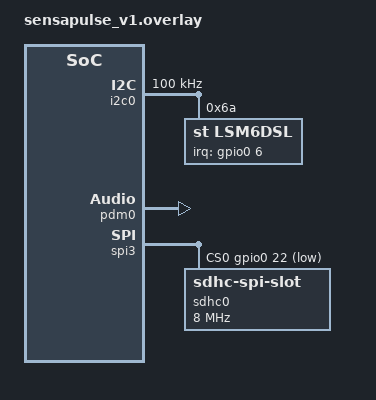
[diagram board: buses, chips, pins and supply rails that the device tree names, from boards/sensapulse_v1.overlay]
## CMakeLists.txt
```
# SPDX-License-Identifier: Apache-2.0
#
# Standalone SD-stress firmware. Builds against the same custom board as the
# main app (via BOARD_ROOT) but pulls only the sd_log module — no PDM, no
# I²C, no BLE, no FSM, no LED. Goal: isolate SD R/W behaviour from the rest
# of the system so we can answer "is the empty-session bug from the SD path
# alone, or from interaction with audio/IMU/watchdog?" deterministically.
cmake_minimum_required(VERSION 3.20.0)

list(APPEND BOARD_ROOT ${CMAKE_CURRENT_LIST_DIR}/../..)

find_package(Zephyr REQUIRED HINTS $ENV{ZEPHYR_BASE})
project(sensapulse_sd_stress LANGUAGES C)

target_sources(app PRIVATE
    src/main.c
    ${CMAKE_CURRENT_LIST_DIR}/../src/sd_log.c
    # Production data-path modules — pulled in unchanged so phases 5/6
    # exercise the exact same code that runs in the main app session.
    # #25: sd_writer is the single FATFS owner; audio.c + imu_sampler.c
    # are now producers that push into sd_writer's FIFOs.
    ${CMAKE_CURRENT_LIST_DIR}/../src/audio.c
    ${CMAKE_CURRENT_LIST_DIR}/../src/imu.c
    ${CMAKE_CURRENT_LIST_DIR}/../src/imu_sampler.c
    ${CMAKE_CURRENT_LIST_DIR}/../src/sd_writer.c
)

target_include_directories(app PRIVATE
    src
    ${CMAKE_CURRENT_LIST_DIR}/../src
)
```

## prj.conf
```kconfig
# SD stress isolation firmware — Kconfig matches production data path
# minus FSM / BLE / watchdog / LED state machine.
#
# Phases 1-4 use only SD; phases 5-6 add PDM (16 kHz/16-bit stereo) and
# IMU (LSM6DSL via I²C @ 100 kHz, sampled at 52 Hz). Anything that fails
# in 5/6 but not 1-4 is interaction-class, not SD-class.

CONFIG_GPIO=y                           # LED liveness blink
CONFIG_MAIN_STACK_SIZE=4096

# SPI + SD card + filesystem
CONFIG_SPI=y
CONFIG_DISK_DRIVER_SDMMC=y
CONFIG_DISK_DRIVERS=y
CONFIG_FILE_SYSTEM=y
CONFIG_FAT_FILESYSTEM_ELM=y
CONFIG_FS_FATFS_LFN=y
CONFIG_FS_FATFS_LFN_MODE_HEAP=y
CONFIG_FS_FATFS_MAX_LFN=64

# Phase 5 — PDM stereo (production audio.c)
CONFIG_AUDIO=y
CONFIG_AUDIO_DMIC=y

# Phase 6 — I²C + LSM6DSL (production imu.c + imu_sampler.c)
CONFIG_I2C=y

# Logging via Segger RTT
CONFIG_LOG=y
CONFIG_LOG_DEFAULT_LEVEL=3
CONFIG_USE_SEGGER_RTT=y
CONFIG_LOG_BACKEND_RTT=y
CONFIG_LOG_BACKEND_UART=n
CONFIG_SEGGER_RTT_BUFFER_SIZE_UP=4096

# Heap matches production (FATFS LFN + DMIC mem-slab + IMU buffers)
CONFIG_HEAP_MEM_POOL_SIZE=16384
```

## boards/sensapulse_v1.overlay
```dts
/*
 * Stress-test overlay for sensapulse_v1/nrf52840.
 *
 * Mirrors the production overlay's peripheral set (SPI3+SDHC, I²C+LSM6DSL,
 * PDM stereo) so phases 5/6 can run the production data path verbatim.
 * ADC is omitted — battery monitoring isn't part of the data-path test.
 *
 * SPI clock is configurable via SD_STRESS_SPI_HZ at build time so the
 * harness can sweep 24 / 16 / 8 / 4 MHz from a single source.
 */

#ifndef SD_STRESS_SPI_HZ
#define SD_STRESS_SPI_HZ 8000000
#endif

/* I²C0 + LSM6DSL — phase 6 */
&i2c0 {
	compatible = "nordic,nrf-twim";
	status = "okay";
	pinctrl-0 = <&i2c0_default>;
	pinctrl-1 = <&i2c0_sleep>;
	pinctrl-names = "default", "sleep";
	clock-frequency = <I2C_BITRATE_STANDARD>;

	lsm6dsl: lsm6dsl@6a {
		compatible = "st,lsm6dsl";
		reg = <0x6a>;
		/* INT1 wiring kept so imu.c's static binding compiles, but the
		 * stress firmware never calls imu_enable_double_tap(), so no
		 * tap interrupt is configured at runtime.
		 */
		irq-gpios = <&gpio0 6 GPIO_ACTIVE_HIGH>;
	};
};

/* PDM stereo — phase 5 */
&pdm0 {
	status = "okay";
	pinctrl-0 = <&pdm0_default>;
	pinctrl-names = "default";
	clock-source = "PCLK32M_HFXO";
};

/* SPI3 + SDHC — all phases */
&spi3 {
	compatible = "nordic,nrf-spim";
	status = "okay";
	pinctrl-0 = <&spi3_default>;
	pinctrl-1 = <&spi3_sleep>;
	pinctrl-names = "default", "sleep";
	cs-gpios = <&gpio0 22 GPIO_ACTIVE_LOW>;

	sdhc0: sdhc@0 {
		compatible = "zephyr,sdhc-spi-slot";
		reg = <0>;
		status = "okay";
		spi-max-frequency = <SD_STRESS_SPI_HZ>;

		mmc {
			compatible = "zephyr,sdmmc-disk";
			status = "okay";
		};
	};
};
```

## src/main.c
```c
/*
 * SensaPulse — SD subsystem stress test (#23 isolation).
 *
 * Why this exists: the production app's empty-session bug looks like an
 * SD R/W issue, but the production firmware also runs PDM, IMU sampling,
 * a session FSM, and a watchdog. We can't tell whether the bug is in SD
 * code itself or in something interacting with SD. This standalone
 * firmware mounts FATFS and only writes/reads, so any error here is
 * unambiguously in the SD path (driver / FATFS / hardware).
 *
 * Phases (all auto, no human input):
 *   1. Sequential bulk write — 1 MB blocks × 20 = 20 MB at peak rate.
 *   2. Sustained PDM-rate emulation — 4 KB / 25 ms ≈ 160 KB/s for 60 s
 *      (above the 64 KB/s of real audio so we have headroom).
 *   3. Dual-file interleave — 4 KB/25 ms to audio.dat + 256 B/200 ms
 *      to imu.dat in parallel, mimicking the production writer pair.
 *   4. With periodic fs_sync — phase 2 again but fs_sync every 5 s.
 *
 * Output: one line per phase summary plus a final
 *   STRESS_SUMMARY: { ... JSON ... }
 * line that scripts/parse_sd_stress.py grep'es for.
 *
 * LED: 1 Hz blink throughout so we can see the firmware is alive on the
 * bench. Solid OFF when the test is done.
 */

#include <zephyr/kernel.h>
#include <zephyr/drivers/gpio.h>
#include <zephyr/fs/fs.h>
#include <zephyr/logging/log.h>

#include <stdint.h>
#include <stdio.h>
#include <string.h>

#include "sd_log.h"
#include "audio.h"
#include "imu.h"
#include "imu_sampler.h"
#include "sd_writer.h"

LOG_MODULE_REGISTER(stress, LOG_LEVEL_INF);

/* ---------- LED liveness blinker ---------- */
static const struct gpio_dt_spec led_spec =
	GPIO_DT_SPEC_GET(DT_ALIAS(led0), gpios);

static void led_tick(struct k_timer *t)
{
	ARG_UNUSED(t);
	static int on;
	on = !on;
	gpio_pin_set_dt(&led_spec, on);
}
K_TIMER_DEFINE(led_timer, led_tick, NULL);

/* ---------- Per-phase metrics ---------- */
struct phase_stats {
	const char *name;
	uint32_t writes;
	uint32_t errors;
	uint32_t total_bytes;
	uint64_t total_us;
	uint32_t max_latency_us;
	int      first_err_code;
	int64_t  first_err_byte;
};

static void stats_record(struct phase_stats *s, int ret, uint32_t bytes,
			 uint64_t lat_us)
{
	s->writes++;
	if (ret < 0) {
		s->errors++;
		if (s->first_err_code == 0) {
			s->first_err_code = ret;
			s->first_err_byte = s->total_bytes;
		}
		LOG_ERR("write[%s] err=%d at offset=%u (write #%u)",
			s->name, ret, s->total_bytes, s->writes);
		return;
	}
	s->total_bytes += bytes;
	s->total_us    += lat_us;
	if (lat_us > s->max_latency_us) s->max_latency_us = (uint32_t)lat_us;
}

static void stats_log(const struct phase_stats *s)
{
	uint32_t avg_us = s->writes ? (uint32_t)(s->total_us / s->writes) : 0;
	uint32_t kbps   = s->total_us
		? (uint32_t)((uint64_t)s->total_bytes * 1000 / s->total_us)
		: 0;
	LOG_INF("[%s] writes=%u errors=%u total=%u B avg=%u us "
		"max=%u us throughput=%u kB/s",
		s->name, s->writes, s->errors, s->total_bytes,
		avg_us, s->max_latency_us, kbps);
	if (s->errors) {
		LOG_ERR("[%s] first error: code=%d at byte=%lld",
			s->name, s->first_err_code, (long long)s->first_err_byte);
	}
}

/* ---------- Phase helpers ---------- */
static int open_w(struct fs_file_t *f, const char *path)
{
	fs_file_t_init(f);
	int ret = fs_open(f, path, FS_O_CREATE | FS_O_WRITE | FS_O_TRUNC);
	if (ret) LOG_ERR("open %s: %d", path, ret);
	return ret;
}

static uint64_t now_us(void)
{
	return k_ticks_to_us_floor64(k_uptime_ticks());
}

/* Buffer reused across phases — kept small so the stack stays sane. */
static uint8_t buf[4096];

static void fill_pattern(uint32_t seed)
{
	for (size_t i = 0; i < sizeof(buf); i++) {
		seed = seed * 1103515245u + 12345u;
		buf[i] = (uint8_t)(seed >> 16);
	}
}

/* ---------- Phase 1: sequential bulk write ---------- */
static int phase_seq_bulk(struct phase_stats *s)
{
	*s = (struct phase_stats){.name = "seq_bulk"};
	struct fs_file_t f;
	if (open_w(&f, SD_MOUNT_POINT "/STRESS_SEQ.DAT") < 0) return -EIO;

	fill_pattern(0xA5A5A5A5);
	const uint32_t target = 20u * 1024u * 1024u;       /* 20 MB */
	uint32_t written = 0;

	while (written < target) {
		uint64_t t0 = now_us();
		int ret = fs_write(&f, buf, sizeof(buf));
		uint64_t lat = now_us() - t0;
		stats_record(s, ret, ret > 0 ? ret : 0, lat);
		if (ret < 0) break;          /* abort phase on hard error */
		written += ret;
	}

	fs_sync(&f);
	fs_close(&f);
	stats_log(s);
	fs_unlink(SD_MOUNT_POINT "/STRESS_SEQ.DAT");
	return 0;
}

/* ---------- Phase 2: sustained rate ---------- */
static int phase_sustained(struct phase_stats *s, int seconds, bool with_sync)
{
	s->name = with_sync ? "sustained_synced" : "sustained";
	s->writes = s->errors = s->total_bytes = 0;
	s->total_us = 0;
	s->max_latency_us = 0;
	s->first_err_code = 0;
	s->first_err_byte = 0;

	struct fs_file_t f;
	if (open_w(&f, with_sync
		   ? SD_MOUNT_POINT "/STRESS_SYN.DAT"
		   : SD_MOUNT_POINT "/STRESS_SUS.DAT") < 0)
		return -EIO;

	fill_pattern(with_sync ? 0xC3C3C3C3 : 0x5A5A5A5A);
	const int     period_ms   = 25;            /* 4 KB / 25 ms = 160 KB/s */
	const int     write_size  = 4096;
	const int64_t deadline_ms = k_uptime_get() + seconds * 1000;
	int64_t       last_sync   = k_uptime_get();

	while (k_uptime_get() < deadline_ms) {
		int64_t t_loop = k_uptime_get();

		uint64_t t0 = now_us();
		int ret = fs_write(&f, buf, write_size);
		uint64_t lat = now_us() - t0;
		stats_record(s, ret, ret > 0 ? ret : 0, lat);
		if (ret < 0) break;

		if (with_sync && (k_uptime_get() - last_sync) >= 5000) {
			fs_sync(&f);
			last_sync = k_uptime_get();
		}

		int64_t elapsed = k_uptime_get() - t_loop;
		if (elapsed < period_ms) k_msleep(period_ms - elapsed);
	}

	fs_sync(&f);
	fs_close(&f);
	stats_log(s);
	fs_unlink(with_sync
		  ? SD_MOUNT_POINT "/STRESS_SYN.DAT"
		  : SD_MOUNT_POINT "/STRESS_SUS.DAT");
	return 0;
}

/* ---------- Phase 3: dual-file interleave ---------- */
static int phase_dual(struct phase_stats *sa, struct phase_stats *si,
		      int seconds)
{
	*sa = (struct phase_stats){.name = "dual_audio"};
	*si = (struct phase_stats){.name = "dual_imu"};

	struct fs_file_t fa, fi;
	if (open_w(&fa, SD_MOUNT_POINT "/STRESS_AUD.DAT") < 0) return -EIO;
	if (open_w(&fi, SD_MOUNT_POINT "/STRESS_IMU.DAT") < 0) {
		fs_close(&fa);
		return -EIO;
	}

	const int period_ms = 25;
	const int aud_size  = 4096;        /* like audio block */
	const int imu_size  = 256;         /* like imu flush */
	const int imu_every = 8;           /* once every 200 ms */
	int       imu_tick  = 0;

	const int64_t deadline_ms = k_uptime_get() + seconds * 1000;
	int64_t       last_sync   = k_uptime_get();

	fill_pattern(0xDEADBEEF);
	while (k_uptime_get() < deadline_ms) {
		int64_t t_loop = k_uptime_get();

		uint64_t t0 = now_us();
		int ret = fs_write(&fa, buf, aud_size);
		uint64_t lat = now_us() - t0;
		stats_record(sa, ret, ret > 0 ? ret : 0, lat);
		if (ret < 0) break;

		if (++imu_tick >= imu_every) {
			imu_tick = 0;
			t0 = now_us();
			ret = fs_write(&fi, buf, imu_size);
			lat = now_us() - t0;
			stats_record(si, ret, ret > 0 ? ret : 0, lat);
			if (ret < 0) break;
		}

		if ((k_uptime_get() - last_sync) >= 5000) {
			fs_sync(&fa);
			fs_sync(&fi);
			last_sync = k_uptime_get();
		}

		int64_t elapsed = k_uptime_get() - t_loop;
		if (elapsed < period_ms) k_msleep(period_ms - elapsed);
	}

	fs_sync(&fa); fs_sync(&fi);
	fs_close(&fa); fs_close(&fi);
	stats_log(sa);
	stats_log(si);
	fs_unlink(SD_MOUNT_POINT "/STRESS_AUD.DAT");
	fs_unlink(SD_MOUNT_POINT "/STRESS_IMU.DAT");
	return 0;
}

/* ---------- Phases 5 / 6 — production data path through sd_writer (#25) ---
 *
 * Architecture under test:
 *   audio_producer  ──→ audio_msgq ─┐
 *                                    ├─→ sd_writer_thread ─→ FATFS
 *   imu_producer    ──→ imu_msgq   ─┘
 *
 * Phase 5 stops imu_producer right after start so audio path is exercised
 * alone through sd_writer (single FATFS thread, no IMU contention).
 * Phase 6 lets both producers run for the full 60 s — this is the test
 * that previously failed 3/5 with the per-stream-FATFS design.
 */
struct dpath_stats {
	const char *name;
	uint32_t    audio_bytes;
	uint32_t    imu_samples;
	bool        writer_failed;
	bool        writer_alive_at_stop;
	uint32_t    audio_dropped;
	uint32_t    imu_dropped;
	uint32_t    duration_s;
};

static int run_data_path(struct dpath_stats *s, int seconds,
			 const char *audio_path, const char *csv_path,
			 bool stop_imu_immediately)
{
	if (audio_init() != 0) {
		LOG_ERR("[%s] audio_init failed", s->name);
		s->writer_failed = true;
		return -1;
	}
	if (!stop_imu_immediately && imu_init() != 0) {
		LOG_ERR("[%s] imu_init failed", s->name);
		s->writer_failed = true;
		return -1;
	}

	if (sd_writer_start(audio_path, csv_path) != 0) {
		LOG_ERR("[%s] sd_writer_start failed", s->name);
		s->writer_failed = true;
		return -1;
	}
	if (stop_imu_immediately) {
		imu_producer_stop();
		while (imu_producer_is_running()) k_msleep(20);
	}

	const int64_t deadline = k_uptime_get() + (int64_t)seconds * 1000;
	while (k_uptime_get() < deadline) {
		k_msleep(5000);
		LOG_INF("[%s] heartbeat: audio=%u B imu=%u samples "
			"(writer_alive=%d failed=%d, dropped a=%u i=%u)",
			s->name,
			sd_writer_audio_bytes_written(),
			sd_writer_imu_samples_written(),
			sd_writer_is_running(),
			sd_writer_failed(),
			sd_writer_audio_dropped(),
			sd_writer_imu_dropped());
		if (sd_writer_failed()) {
			LOG_ERR("[%s] sd_writer reports FAILED — early stop",
				s->name);
			break;
		}
	}

	s->writer_alive_at_stop = sd_writer_is_running();
	sd_writer_stop();

	s->audio_bytes    = sd_writer_audio_bytes_written();
	s->imu_samples    = sd_writer_imu_samples_written();
	s->writer_failed  = sd_writer_failed();
	s->audio_dropped  = sd_writer_audio_dropped();
	s->imu_dropped    = sd_writer_imu_dropped();

	LOG_INF("[%s] DONE audio=%u B (failed=%d, dropped=%u) "
		"imu=%u samples (dropped=%u) — expected audio ~%u B, "
		"imu ~%u samples",
		s->name, s->audio_bytes, s->writer_failed, s->audio_dropped,
		s->imu_samples, s->imu_dropped,
		AUDIO_PDM_RATE_HZ * AUDIO_PDM_CHANNELS * 2 * seconds,
		stop_imu_immediately ? 0 : IMU_SAMPLER_RATE_HZ * seconds);

	fs_unlink(audio_path);
	fs_unlink(csv_path);
	return s->writer_failed ? -1 : 0;
}

static int phase_pdm_only(struct dpath_stats *s, int seconds)
{
	*s = (struct dpath_stats){.name = "pdm_only", .duration_s = seconds};
	return run_data_path(s, seconds,
			     SD_MOUNT_POINT "/STRESS_PDM5.WAV",
			     SD_MOUNT_POINT "/STRESS_IMU5.CSV",
			     true);
}

static int phase_pdm_imu(struct dpath_stats *s, int seconds)
{
	*s = (struct dpath_stats){.name = "pdm_imu", .duration_s = seconds};
	return run_data_path(s, seconds,
			     SD_MOUNT_POINT "/STRESS_PDM6.WAV",
			     SD_MOUNT_POINT "/STRESS_IMU6.CSV",
			     false);
}

/* ---------- Final summary line ---------- */
static void summary_json(const struct phase_stats *p1, const struct phase_stats *p2,
			 const struct phase_stats *p3a, const struct phase_stats *p3b,
			 const struct phase_stats *p4,
			 const struct dpath_stats *p5,
			 const struct dpath_stats *p6)
{
	const struct phase_stats *all[] = { p1, p2, p3a, p3b, p4 };
	uint32_t total_writes = 0, total_errors = 0;
	uint64_t total_bytes  = 0;
	uint32_t max_latency  = 0;
	for (size_t i = 0; i < ARRAY_SIZE(all); i++) {
		total_writes += all[i]->writes;
		total_errors += all[i]->errors;
		total_bytes  += all[i]->total_bytes;
		if (all[i]->max_latency_us > max_latency)
			max_latency = all[i]->max_latency_us;
	}

	uint32_t expected_audio_bytes =
		(uint32_t)AUDIO_PDM_RATE_HZ * AUDIO_PDM_CHANNELS * 2 * p5->duration_s;
	uint32_t expected_imu_samples =
		(uint32_t)IMU_SAMPLER_RATE_HZ * p6->duration_s;

	LOG_INF("STRESS_SUMMARY: {"
		"\"writes\":%u,"
		"\"errors\":%u,"
		"\"bytes\":%llu,"
		"\"max_latency_us\":%u,"
		"\"phases\":{"
			"\"seq_bulk\":{\"w\":%u,\"e\":%u,\"b\":%u,\"first_err\":%d},"
			"\"sustained\":{\"w\":%u,\"e\":%u,\"b\":%u,\"first_err\":%d},"
			"\"dual_audio\":{\"w\":%u,\"e\":%u,\"b\":%u,\"first_err\":%d},"
			"\"dual_imu\":{\"w\":%u,\"e\":%u,\"b\":%u,\"first_err\":%d},"
			"\"sustained_synced\":{\"w\":%u,\"e\":%u,\"b\":%u,\"first_err\":%d},"
			"\"pdm_only\":{\"audio_b\":%u,\"audio_expected_b\":%u,"
				      "\"writer_failed\":%d,"
				      "\"audio_dropped\":%u,\"sec\":%u},"
			"\"pdm_imu\":{\"audio_b\":%u,\"audio_expected_b\":%u,"
				     "\"writer_failed\":%d,"
				     "\"audio_dropped\":%u,"
				     "\"imu_samples\":%u,\"imu_expected\":%u,"
				     "\"imu_dropped\":%u,\"sec\":%u}"
		"}}",
		total_writes, total_errors,
		(unsigned long long)total_bytes, max_latency,
		p1->writes, p1->errors, p1->total_bytes, p1->first_err_code,
		p2->writes, p2->errors, p2->total_bytes, p2->first_err_code,
		p3a->writes, p3a->errors, p3a->total_bytes, p3a->first_err_code,
		p3b->writes, p3b->errors, p3b->total_bytes, p3b->first_err_code,
		p4->writes, p4->errors, p4->total_bytes, p4->first_err_code,
		p5->audio_bytes, expected_audio_bytes, (int)p5->writer_failed,
		p5->audio_dropped, p5->duration_s,
		p6->audio_bytes,
		(uint32_t)AUDIO_PDM_RATE_HZ * AUDIO_PDM_CHANNELS * 2 * p6->duration_s,
		(int)p6->writer_failed, p6->audio_dropped,
		p6->imu_samples, expected_imu_samples,
		p6->imu_dropped, p6->duration_s);
}

/* ---------- main ---------- */
int main(void)
{
	LOG_INF("SD STRESS v1.0 — start");
	LOG_INF("Build: %s %s", __DATE__, __TIME__);

	if (gpio_is_ready_dt(&led_spec)) {
		gpio_pin_configure_dt(&led_spec, GPIO_OUTPUT_INACTIVE);
		k_timer_start(&led_timer, K_MSEC(500), K_MSEC(500));
	}

	if (sdlog_init() != 0) {
		LOG_ERR("sdlog_init failed — aborting");
		return -1;
	}

	struct phase_stats p1 = {0}, p2 = {0}, p3a = {0}, p3b = {0}, p4 = {0};
	struct dpath_stats p5 = {0}, p6 = {0};

	LOG_INF("------- phase 1: seq_bulk -------");
	phase_seq_bulk(&p1);

	LOG_INF("------- phase 2: sustained 60 s -------");
	phase_sustained(&p2, 60, false);

	LOG_INF("------- phase 3: dual-file 60 s -------");
	phase_dual(&p3a, &p3b, 60);

	LOG_INF("------- phase 4: sustained_synced 60 s -------");
	phase_sustained(&p4, 60, true);

	LOG_INF("------- phase 5: pdm_only 60 s -------");
	phase_pdm_only(&p5, 60);

	LOG_INF("------- phase 6: pdm_imu 60 s -------");
	phase_pdm_imu(&p6, 60);

	LOG_INF("------- DONE -------");
	summary_json(&p1, &p2, &p3a, &p3b, &p4, &p5, &p6);
	LOG_INF("Stress test complete. LED off, halting.");

	k_timer_stop(&led_timer);
	if (gpio_is_ready_dt(&led_spec)) {
		gpio_pin_set_dt(&led_spec, 0);
	}

	while (1) k_sleep(K_FOREVER);
	return 0;
}
```
